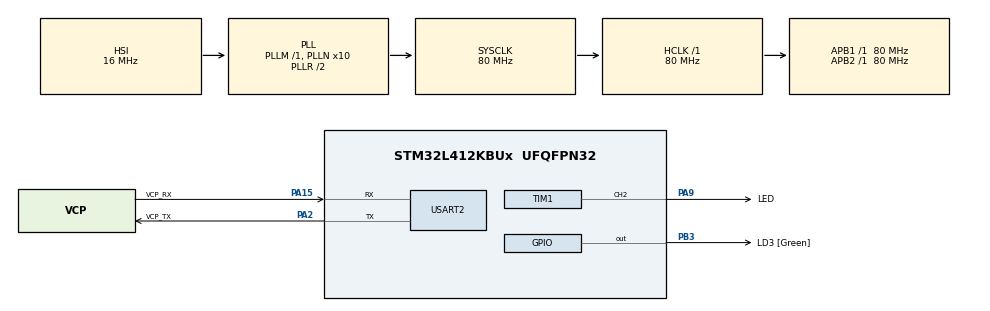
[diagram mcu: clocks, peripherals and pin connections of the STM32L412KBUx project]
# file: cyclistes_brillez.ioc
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Dma.Request0=TIM1_CH2
Dma.TIM1_CH2.0.Direction=DMA_MEMORY_TO_PERIPH
Dma.TIM1_CH2.0.Instance=DMA1_Channel3
Dma.TIM1_CH2.0.MemDataAlignment=DMA_MDATAALIGN_HALFWORD
Dma.TIM1_CH2.0.MemInc=DMA_MINC_ENABLE
Dma.TIM1_CH2.0.Mode=DMA_NORMAL
Dma.TIM1_CH2.0.PeriphDataAlignment=DMA_PDATAALIGN_HALFWORD
Dma.TIM1_CH2.0.PeriphInc=DMA_PINC_DISABLE
Dma.TIM1_CH2.0.Priority=DMA_PRIORITY_VERY_HIGH
Mcu.Family=STM32L4
Mcu.Name=STM32L412KBUx
Mcu.Package=UFQFPN32
NVIC.DMA1_Channel3_IRQn=true\:0\:0\:false\:false\:true\:false\:true\:true
NVIC.PriorityGroup=NVIC_PRIORITYGROUP_4
PA0-CK_IN.Mode=HSE-External-Clock-Source-for-LittleOrca
PA0-CK_IN.Signal=RCC_CK_IN
PA13\ (JTMS/SWDIO).GPIO_Label=SWDIO
PA13\ (JTMS/SWDIO).Mode=Serial_Wire
PA13\ (JTMS/SWDIO).Signal=SYS_JTMS-SWDIO
PA14\ (JTCK/SWCLK).GPIO_Label=SWCLK
PA14\ (JTCK/SWCLK).Mode=Serial_Wire
PA14\ (JTCK/SWCLK).Signal=SYS_JTCK-SWCLK
PA15\ (JTDI).GPIO_Label=VCP_RX
PA15\ (JTDI).Mode=Asynchronous
PA15\ (JTDI).Signal=USART2_RX
PA2.GPIO_Label=VCP_TX
PA2.Mode=Asynchronous
PA2.Signal=USART2_TX
PA9.GPIO_Label=LED
PA9.Signal=S_TIM1_CH2
PB3\ (JTDO/TRACESWO).GPIO_Label=LD3 [Green]
PB3\ (JTDO/TRACESWO).Signal=GPIO_Output
PC14-OSC32_IN\ (PC14).Mode=LSE-External-Oscillator
PC14-OSC32_IN\ (PC14).Signal=RCC_OSC32_IN
PC15-OSC32_OUT\ (PC15).Mode=LSE-External-Oscillator
PC15-OSC32_OUT\ (PC15).Signal=RCC_OSC32_OUT
ProjectManager.HeapSize=0x000
ProjectManager.StackSize=0x400
ProjectManager.TargetToolchain=STM32CubeIDE
RCC.ADCFreq_Value=80000000
RCC.AHBFreq_Value=80000000
RCC.APB1Freq_Value=80000000
RCC.APB1TimFreq_Value=80000000
RCC.APB2Freq_Value=80000000
RCC.APB2TimFreq_Value=80000000
RCC.CortexFreq_Value=80000000
RCC.FLatency=FLASH_LATENCY_4
RCC.HCLKFreq_Value=80000000
RCC.HSE_VALUE=8000000
RCC.HSI48_VALUE=48000000
RCC.HSICalibrationValue=64
RCC.HSI_VALUE=16000000
RCC.MSIClockRange=RCC_MSIRANGE_10
RCC.MSI_VALUE=32000000
RCC.PLLN=10
RCC.PLLSourceVirtual=RCC_PLLSOURCE_HSI
RCC.SYSCLKFreq_VALUE=80000000
RCC.SYSCLKSource=RCC_SYSCLKSOURCE_PLLCLK
RCC.USBFreq_Value=32000000
RCC.VCOOutputFreq_Value=160000000
SH.S_TIM1_CH2.0=TIM1_CH2,PWM Generation2 CH2
TIM1.Channel-PWM\ Generation2\ CH2=TIM_CHANNEL_2
TIM1.Period=100-1
USART2.VirtualMode-Asynchronous=VM_ASYNC
VP_RNG_VS_RNG.Mode=RNG_Activate
board=NUCLEO-L412KB

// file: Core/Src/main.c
/* USER CODE BEGIN Header */
/**
 ******************************************************************************
 * @file           : main.c
 * @brief          : Main program body
 ******************************************************************************
 * @attention
 *
 * Copyright (c) 2024 STMicroelectronics.
 * All rights reserved.
 *
 * This software is licensed under terms that can be found in the LICENSE file
 * in the root directory of this software component.
 * If no LICENSE file comes with this software, it is provided AS-IS.
 *
 ******************************************************************************
 */

/* ticks 80MHz
 * T0H 400ns 32
 * T1H 800ns 64
 * T0L 850ns 68
 * T1L 450ns 36
 * RES 50000ns 4000
 *
 * Send 0 : 32 + 68 = 100
 * Send 1 : 64 + 36 = 100
 *
 * Green : 0x0000FF
 * Red :   0x00FF00
 * Blue :  0xFF0000
 */

/* USER CODE END Header */
#include "main.h"
#include "dma.h"
#include "rng.h"
#include "tim.h"
#include "usart.h"
#include "gpio.h"

/* USER CODE BEGIN Includes */
#include "brillez.h"
/* USER CODE END Includes */

void SystemClock_Config(void);

/* USER CODE BEGIN 0 */
#define PALETTE_SIZE 6
uint32_t palette[PALETTE_SIZE] =
{
		0xFF0000,
		0xFFFF00,
		0x00FF00,
		0x00FFFF,
		0x0000FF,
		0xFF00FF,
};
/* USER CODE END 0 */

int main(void)
{

  /* MCU Configuration--------------------------------------------------------*/

  /* Reset of all peripherals, Initializes the Flash interface and the Systick. */
  HAL_Init();

  /* Configure the system clock */
  SystemClock_Config();

  /* Initialize all configured peripherals */
  MX_GPIO_Init();
  MX_DMA_Init();
  MX_USART2_UART_Init();
  MX_TIM1_Init();
  MX_RNG_Init();
  /* USER CODE BEGIN 2 */
	brillez_init();
  /* USER CODE END 2 */

  /* Infinite loop */
  /* USER CODE BEGIN WHILE */

	while (1)
	{
		uint32_t random;
		HAL_RNG_GenerateRandomNumber(&hrng, &random);
		uint32_t effect = random %= 5;
		HAL_RNG_GenerateRandomNumber(&hrng, &random);
		uint32_t color = random %= PALETTE_SIZE;

		for (int i = 0 ; i < 10 ; i++)
		{
			switch(effect)
			{
			case 0:
				chaser_forward(palette[color], 25);
				break;
			case 1:
				chaser_backward(palette[color], 30);
				break;
			case 2:
				chaser_from_center(palette[color], 50);
				break;
			case 3:
				chaser_to_center(palette[color], 50);
				break;
			case 4:
				blink(palette[color], 50);
				break;
			}
		}

    /* USER CODE END WHILE */

	}
}

void SystemClock_Config(void)
{
  RCC_OscInitTypeDef RCC_OscInitStruct = {0};
  RCC_ClkInitTypeDef RCC_ClkInitStruct = {0};

  /** Configure the main internal regulator output voltage
  */
  if (HAL_PWREx_ControlVoltageScaling(PWR_REGULATOR_VOLTAGE_SCALE1) != HAL_OK)
  {
    Error_Handler();
  }

  /** Configure LSE Drive Capability
  */
  HAL_PWR_EnableBkUpAccess();
  __HAL_RCC_LSEDRIVE_CONFIG(RCC_LSEDRIVE_LOW);

  /** Initializes the RCC Oscillators according to the specified parameters
  * in the RCC_OscInitTypeDef structure.
  */
  RCC_OscInitStruct.OscillatorType = RCC_OSCILLATORTYPE_HSI|RCC_OSCILLATORTYPE_LSE
                              |RCC_OSCILLATORTYPE_MSI;
  RCC_OscInitStruct.LSEState = RCC_LSE_ON;
  RCC_OscInitStruct.HSIState = RCC_HSI_ON;
  RCC_OscInitStruct.HSICalibrationValue = RCC_HSICALIBRATION_DEFAULT;
  RCC_OscInitStruct.MSIState = RCC_MSI_ON;
  RCC_OscInitStruct.MSICalibrationValue = 0;
  RCC_OscInitStruct.MSIClockRange = RCC_MSIRANGE_10;
  RCC_OscInitStruct.PLL.PLLState = RCC_PLL_ON;
  RCC_OscInitStruct.PLL.PLLSource = RCC_PLLSOURCE_HSI;
  RCC_OscInitStruct.PLL.PLLM = 1;
  RCC_OscInitStruct.PLL.PLLN = 10;
  RCC_OscInitStruct.PLL.PLLQ = RCC_PLLQ_DIV2;
  RCC_OscInitStruct.PLL.PLLR = RCC_PLLR_DIV2;
  if (HAL_RCC_OscConfig(&RCC_OscInitStruct) != HAL_OK)
  {
    Error_Handler();
  }

  /** Initializes the CPU, AHB and APB buses clocks
  */
  RCC_ClkInitStruct.ClockType = RCC_CLOCKTYPE_HCLK|RCC_CLOCKTYPE_SYSCLK
                              |RCC_CLOCKTYPE_PCLK1|RCC_CLOCKTYPE_PCLK2;
  RCC_ClkInitStruct.SYSCLKSource = RCC_SYSCLKSOURCE_PLLCLK;
  RCC_ClkInitStruct.AHBCLKDivider = RCC_SYSCLK_DIV1;
  RCC_ClkInitStruct.APB1CLKDivider = RCC_HCLK_DIV1;
  RCC_ClkInitStruct.APB2CLKDivider = RCC_HCLK_DIV1;

  if (HAL_RCC_ClockConfig(&RCC_ClkInitStruct, FLASH_LATENCY_4) != HAL_OK)
  {
    Error_Handler();
  }

  /** Enable MSI Auto calibration
  */
  HAL_RCCEx_EnableMSIPLLMode();
}

void Error_Handler(void)
{
	__disable_irq();
	while (1)
	{
	}
}
